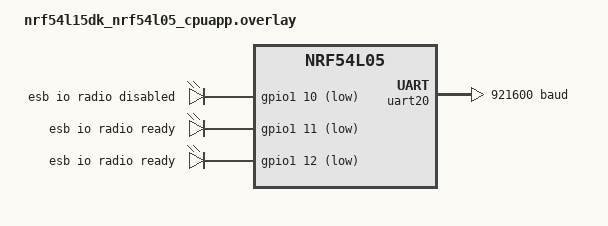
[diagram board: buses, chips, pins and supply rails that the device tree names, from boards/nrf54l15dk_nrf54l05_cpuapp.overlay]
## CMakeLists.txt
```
#
# Copyright (c) 2018 Nordic Semiconductor
#
# SPDX-License-Identifier: LicenseRef-Nordic-5-Clause
#
cmake_minimum_required(VERSION 3.20.0)

find_package(Zephyr REQUIRED HINTS $ENV{ZEPHYR_BASE})
project(esb_prx)

FILE(GLOB app_sources src/*.c)
# NORDIC SDK APP START
target_sources(app PRIVATE ${app_sources})
# NORDIC SDK APP END
```

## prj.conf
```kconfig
#
# Copyright (c) 2019 Nordic Semiconductor ASA
#
# SPDX-License-Identifier: LicenseRef-Nordic-5-Clause
#
CONFIG_NCS_SAMPLES_DEFAULTS=y
CONFIG_ESB=y
CONFIG_DK_LIBRARY=y
CONFIG_CLOCK_CONTROL=y

CONFIG_ESB_MAX_PAYLOAD_LENGTH=72
CONFIG_ESB_FAST_SWITCHING=y
CONFIG_ESB_FAST_CHANNEL_SWITCHING=y
# CONFIG_NRFX_DPPI10=y

# CONFIG_FLASH=y
# CONFIG_FLASH_MAP=y
# CONFIG_FLASH_LOAD_OFFSET=0x10000
# CONFIG_SPI=y

# 低频时钟：使用内部 RC，而不是外部 32.768 kHz 晶振
CONFIG_CLOCK_CONTROL_NRF_K32SRC_RC=y
CONFIG_CLOCK_CONTROL_NRF_K32SRC_XTAL=n
CONFIG_CLOCK_CONTROL_NRF_K32SRC_SYNTH=n
# 根据需求选择 RC 精度和校准策略（可选，但推荐）
CONFIG_CLOCK_CONTROL_NRF_K32SRC_500PPM=y
CONFIG_CLOCK_CONTROL_NRF_K32SRC_RC_CALIBRATION=y
CONFIG_CLOCK_CONTROL_NRF_CALIBRATION_LF_ALWAYS_ON=y
```

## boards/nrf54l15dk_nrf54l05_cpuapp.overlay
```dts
/*
 * Copyright (c) 2024 Nordic Semiconductor ASA
 *
 * SPDX-License-Identifier: LicenseRef-Nordic-5-Clause
 */
/delete-node/ &boot_partition;
/delete-node/ &slot0_partition;
/delete-node/ &slot1_partition;
/delete-node/ &storage_partition;
 / {	
	esb_gpio {
		compatible = "gpio-leds";
		esb_io_radio_disabled: esb-io-radio-disabled {
			gpios = <&gpio1 10 GPIO_ACTIVE_LOW>;
			label = "esb io radio disabled";
		};
		esb_io_radio_rx: esb-io-radio-rx {
			gpios = <&gpio1 11 GPIO_ACTIVE_LOW>;
			label = "esb io radio ready";
		};
		esb_io_radio_tx: esb-io-radio-tx {
			gpios = <&gpio1 12 GPIO_ACTIVE_LOW>;
			label = "esb io radio ready";
		};
	};
};
&cpuapp_rram {
	reg = <0x0 DT_SIZE_K(500)>;
	partitions {
		compatible = "fixed-partitions";
		#address-cells = <1>;
		#size-cells = <1>;
		boot_partition: partition@0 {
			label = "mcuboot";
			reg = <0x0 0x10000>;
		};
		/* 
		slot0_partition: partition@10000 {
			label = "image-0";
			reg = <0x10000 0x160000>;
		};
		*/
		slot0_partition: partition@10000 {
			label = "image-0";
			reg = <0x10000 0x68000>;
		};
		
		/* 52k from 0x170000 to 0x17cfff reserved for TF-M partitions */
		/* 
		storage_partition: partition@170000 {
			label = "storage";
			reg = <0x170000 0x2000>;
		};
		*/
		storage_partition: partition@78000 {
			label = "storage";
			reg = <0x78000 0x2000>;
		};
	};
};

&pinctrl {
	spi00_default: spi00_default {
		group1 {
			psels = <NRF_PSEL(SPIM_SCK, 2, 1)>,
				<NRF_PSEL(SPIM_MOSI, 2, 2)>,
				<NRF_PSEL(SPIM_MISO, 2, 4)>;
		};
	};

	spi00_sleep: spi00_sleep {
		group1 {
			psels = <NRF_PSEL(SPIM_SCK, 2, 1)>,
				<NRF_PSEL(SPIM_MOSI, 2, 2)>,
				<NRF_PSEL(SPIM_MISO, 2, 4)>;
				low-power-enable;
		};
	};
};

&spi00 {
	// status = "okay";
	status = "disabled";
	cs-gpios = <&gpio2 5 GPIO_ACTIVE_LOW>;
	pinctrl-0 = <&spi00_default>;
	pinctrl-1 = <&spi00_sleep>;
	pinctrl-names = "default", "sleep";

	dut_spi00_dt: test-spi-dev@0 {
		compatible = "vnd,spi-device";
		reg = <0>;
		spi-max-frequency = <DT_FREQ_M(4)>;
	};

	mx25r64: mx25r6435f@0 {
		status = "disabled";
	};
};

&led0 {
	status = "disabled";
};

&led1 {
	status = "disabled";
};

&led2 {
	status = "disabled";
};

&led3 {
	status = "disabled";
};

&button0 {
	status = "disabled";
};

&button1 {
	status = "disabled";
};

&button2 {
	status = "disabled";
};

&button3 {
	status = "disabled";
};

&pwm20 {
	status = "disabled";
};

&pwm_led1 {
	status = "disabled";
};

&uart20 {
	// status = "disabled";
	current-speed = <921600>;
};
&uart20_default {
	group1 {
		psels = <NRF_PSEL(UART_TX, 1, 4)>;
	};
};

&uart20_sleep {
	group1 {
		psels = <NRF_PSEL(UART_TX, 1, 4)>;
	};
};
/delete-node/ &{/pin-controller/uart20_default/group2/};

&lfxo {
    status = "disabled";
};

&hfxo {
	// //128M
	// clock-frequency = < 0x1e84800 >;
    // /* 选择使用内部电容阵列 */
    // load-capacitors = "internal";
    // /* 调整内部电容驱动强度值，例如 15500 fF (即15.5pF) */
    // load-capacitance-femtofarad = <15500>;
    // 使用外部电容
    // load-capacitors = "external";
};
```

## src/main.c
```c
/*
 * Copyright (c) 2018 Nordic Semiconductor ASA
 *
 * SPDX-License-Identifier: LicenseRef-Nordic-5-Clause
 */
#include <zephyr/device.h>
#include <zephyr/devicetree.h>
#include <zephyr/drivers/clock_control.h>
#include <zephyr/drivers/clock_control/nrf_clock_control.h>
#include <zephyr/drivers/gpio.h>
#include <zephyr/irq.h>
#include <zephyr/logging/log.h>
#include <nrf.h>
// #include <nrfx.h>

#include <esb.h>
#include <zephyr/kernel.h>
#include <zephyr/types.h>
#include <dk_buttons_and_leds.h>
#if defined(CONFIG_CLOCK_CONTROL_NRF2)
#include <hal/nrf_lrcconf.h>
#endif
#include <nrf_erratas.h>
#if NRF54L_ERRATA_20_PRESENT
#include <hal/nrf_power.h>
#endif /* NRF54L_ERRATA_20_PRESENT */
#if defined(NRF54LM20A_ENGA_XXAA)
#include <hal/nrf_clock.h>
#endif /* defined(NRF54LM20A_ENGA_XXAA) */

LOG_MODULE_REGISTER(esb_prx, CONFIG_ESB_PRX_APP_LOG_LEVEL);


#define ACKPALOAD 0
#define ACKPALOAD_TIMER 0
static struct esb_payload rx_payload;
static struct esb_payload tx_payload = ESB_CREATE_PAYLOAD(0,
	0x10, 0x11, 0x12, 0x13, 0x14, 0x15, 0x16, 0x17);

static void leds_update(uint8_t value)
{
	uint32_t leds_mask =
		(!(value % 8 > 0 && value % 8 <= 4) ? DK_LED1_MSK : 0) |
		(!(value % 8 > 1 && value % 8 <= 5) ? DK_LED2_MSK : 0) |
		(!(value % 8 > 2 && value % 8 <= 6) ? DK_LED3_MSK : 0) |
		(!(value % 8 > 3) ? DK_LED4_MSK : 0);

	dk_set_leds(leds_mask);
}

void event_handler(struct esb_evt const *event)
{
	switch (event->evt_id) {
	case ESB_EVENT_TX_SUCCESS:
		// LOG_DBG("TX SUCCESS EVENT");
		break;
	case ESB_EVENT_TX_FAILED:
		LOG_DBG("TX FAILED EVENT");
		break;
	case ESB_EVENT_RX_RECEIVED:
	
		if (esb_read_rx_payload(&rx_payload) == 0) {
			// LOG_DBG("Packet received, len %d : "
			// 	"0x%02x, 0x%02x, 0x%02x, 0x%02x, "
			// 	"0x%02x, 0x%02x, 0x%02x, 0x%02x",
			// 	rx_payload.length, rx_payload.data[0],
			// 	rx_payload.data[1], rx_payload.data[2],
			// 	rx_payload.data[3], rx_payload.data[4],
			// 	rx_payload.data[5], rx_payload.data[6],
			// 	rx_payload.data[7]);
#if	ACKPALOAD		
			int err = esb_write_payload(&tx_payload);
			if (err) {
				LOG_ERR("Failed to send tx_payload, err %d", err);
			}
			tx_payload.data[1]++;
#endif
		} 
		else {
			LOG_ERR("Error while reading rx packet");
		}

		break;
	}
}

#if defined(CONFIG_CLOCK_CONTROL_NRF)
int clocks_start(void)
{
	int err;
	int res;
	struct onoff_manager *clk_mgr;
	struct onoff_client clk_cli;

	clk_mgr = z_nrf_clock_control_get_onoff(CLOCK_CONTROL_NRF_SUBSYS_HF);
	if (!clk_mgr) {
		LOG_ERR("Unable to get the Clock manager");
		return -ENXIO;
	}

	sys_notify_init_spinwait(&clk_cli.notify);

	err = onoff_request(clk_mgr, &clk_cli);
	if (err < 0) {
		LOG_ERR("Clock request failed: %d", err);
		return err;
	}

	do {
		err = sys_notify_fetch_result(&clk_cli.notify, &res);
		if (!err && res) {
			LOG_ERR("Clock could not be started: %d", res);
			return res;
		}
	} while (err);

#if NRF54L_ERRATA_20_PRESENT
	if (nrf54l_errata_20()) {
		nrf_power_task_trigger(NRF_POWER, NRF_POWER_TASK_CONSTLAT);
	}
#endif /* NRF54L_ERRATA_20_PRESENT */

#if defined(NRF54LM20A_ENGA_XXAA)
	/* MLTPAN-39 */
	nrf_clock_task_trigger(NRF_CLOCK, NRF_CLOCK_TASK_PLLSTART);
#endif

	LOG_DBG("HF clock started");
	return 0;
}

#elif defined(CONFIG_CLOCK_CONTROL_NRF2)

int clocks_start(void)
{
	int err;
	int res;
	const struct device *radio_clk_dev =
		DEVICE_DT_GET_OR_NULL(DT_CLOCKS_CTLR(DT_NODELABEL(radio)));
	struct onoff_client radio_cli;

	/** Keep radio domain powered all the time to reduce latency. */
	nrf_lrcconf_poweron_force_set(NRF_LRCCONF010, NRF_LRCCONF_POWER_DOMAIN_1, true);

	sys_notify_init_spinwait(&radio_cli.notify);

	err = nrf_clock_control_request(radio_clk_dev, NULL, &radio_cli);

	do {
		err = sys_notify_fetch_result(&radio_cli.notify, &res);
		if (!err && res) {
			LOG_ERR("Clock could not be started: %d", res);
			return res;
		}
	} while (err == -EAGAIN);

	nrf_lrcconf_clock_always_run_force_set(NRF_LRCCONF000, 0, true);
	nrf_lrcconf_task_trigger(NRF_LRCCONF000, NRF_LRCCONF_TASK_CLKSTART_0);

	LOG_DBG("HF clock started");

	return 0;
}

#else
BUILD_ASSERT(false, "No Clock Control driver");
#endif /* defined(CONFIG_CLOCK_CONTROL_NRF2) */

#define DEBUG_IO_ENABLE 				    1	
#if(DEBUG_IO_ENABLE)
#define G24_RF_IO_ENABLE                    1//需要关闭，调试2.4G rf时序的

#define DEBUG_IO1_PORT 						1							
#define DEBUG_IO1_PIN						10
#define DEBUG_IO1_PORT_PIN					((DEBUG_IO1_PORT<<5)|DEBUG_IO1_PIN)

#define DEBUG_IO2_PORT 						1						
#define DEBUG_IO2_PIN						11
#define DEBUG_IO2_PORT_PIN					((DEBUG_IO2_PORT<<5)|DEBUG_IO2_PIN)

#define DEBUG_IO3_PORT 						1						
#define DEBUG_IO3_PIN						12
#define DEBUG_IO3_PORT_PIN					((DEBUG_IO3_PORT<<5)|DEBUG_IO3_PIN)

#define DEBUG_IO4_PORT 						1						
#define DEBUG_IO4_PIN						13
#define DEBUG_IO4_PORT_PIN					((DEBUG_IO4_PORT<<5)|DEBUG_IO4_PIN)

#define DEBUG_IO5_PORT 						1						
#define DEBUG_IO5_PIN						14
#define DEBUG_IO5_PORT_PIN					((DEBUG_IO5_PORT<<5)|DEBUG_IO5_PIN)
#else
#define G24_RF_IO_ENABLE                    0//DEBUG_IO_ENABLE没有使能，不能使用
#endif

#if(DEBUG_IO_ENABLE && G24_RF_IO_ENABLE)
#include <hal/nrf_dppi.h>
#include <hal/nrf_ppib.h>
#include <hal/nrf_gpio.h>
#include <hal/nrf_gpiote.h>
#define NRF_GPIOTE_TEST  NRF_GPIOTE20
void app_g24_rf_io_init(void)
{
    // // 1. 初始化 GPIOTE
	// ret = nrf_gpiote_init();
    
    // 2. 配置 GPIO 输出
    // nrf_gpio_cfg_output(RADIO_INDICATOR_PIN);
    // nrf_gpio_pin_clear(RADIO_INDICATOR_PIN);
    
    // 3. 配置 GPIOTE 输出任务
	nrf_gpiote_task_configure(NRF_GPIOTE_TEST, 0, DEBUG_IO1_PORT_PIN,
							NRF_GPIOTE_POLARITY_TOGGLE,
							NRF_GPIOTE_INITIAL_VALUE_LOW);
	nrf_gpiote_task_configure(NRF_GPIOTE_TEST, 1, DEBUG_IO2_PORT_PIN,
							NRF_GPIOTE_POLARITY_TOGGLE,
							NRF_GPIOTE_INITIAL_VALUE_LOW);
	nrf_gpiote_task_configure(NRF_GPIOTE_TEST, 2, DEBUG_IO3_PORT_PIN,
							NRF_GPIOTE_POLARITY_TOGGLE,
							NRF_GPIOTE_INITIAL_VALUE_LOW);
    
    // 4. 启用 GPIOTE 输出任务
    nrf_gpiote_task_enable(NRF_GPIOTE_TEST, 0);
	nrf_gpiote_task_enable(NRF_GPIOTE_TEST, 1);
	nrf_gpiote_task_enable(NRF_GPIOTE_TEST, 2);

	/* Publish radio event */
	nrf_radio_publish_set(NRF_RADIO, NRF_RADIO_EVENT_TXREADY, 8);
	nrf_radio_publish_set(NRF_RADIO, NRF_RADIO_EVENT_END, 9);
	nrf_radio_publish_set(NRF_RADIO, NRF_RADIO_EVENT_RXREADY, 10);

	/* Enable same DPPI in Global domain */
	nrf_dppi_channels_enable(NRF_DPPIC10, BIT(8));
	nrf_dppi_channels_enable(NRF_DPPIC10, BIT(9));
	nrf_dppi_channels_enable(NRF_DPPIC10, BIT(10));

	/* Setup PPIB send subscribe */
	nrf_ppib_subscribe_set(NRF_PPIB11,NRF_PPIB_TASK_SEND_6,8);
	nrf_ppib_subscribe_set(NRF_PPIB11,NRF_PPIB_TASK_SEND_7,9);
	nrf_ppib_subscribe_set(NRF_PPIB11,NRF_PPIB_TASK_SEND_8,10);

	 /* Setup PPIB receive publish */
    nrf_ppib_publish_set(NRF_PPIB21, NRF_PPIB_EVENT_RECEIVE_6, 10);
	nrf_ppib_publish_set(NRF_PPIB21, NRF_PPIB_EVENT_RECEIVE_7, 11);
	nrf_ppib_publish_set(NRF_PPIB21, NRF_PPIB_EVENT_RECEIVE_8, 12);

	nrf_gpiote_subscribe_set(NRF_GPIOTE_TEST, NRF_GPIOTE_TASK_OUT_0, 10);
	nrf_gpiote_subscribe_set(NRF_GPIOTE_TEST, NRF_GPIOTE_TASK_OUT_1, 11);
	nrf_gpiote_subscribe_set(NRF_GPIOTE_TEST, NRF_GPIOTE_TASK_OUT_2, 12);

	nrf_dppi_channels_enable(NRF_DPPIC20, BIT(10));
	nrf_dppi_channels_enable(NRF_DPPIC20, BIT(11));
	nrf_dppi_channels_enable(NRF_DPPIC20, BIT(12));

	printk("G24_RF_IO_ENABLE!\n");
}
#endif

void app_gpio_initial(void)  // 
{	
#if(DEBUG_IO_ENABLE)
	nrf_gpio_cfg_output(DEBUG_IO1_PORT_PIN);
	nrf_gpio_pin_write(DEBUG_IO1_PORT_PIN,0);

	nrf_gpio_cfg_output(DEBUG_IO2_PORT_PIN);
	nrf_gpio_pin_write(DEBUG_IO2_PORT_PIN,0);

	nrf_gpio_cfg_output(DEBUG_IO3_PORT_PIN);
	nrf_gpio_pin_write(DEBUG_IO3_PORT_PIN,0);

	nrf_gpio_cfg_output(DEBUG_IO4_PORT_PIN);
	nrf_gpio_pin_write(DEBUG_IO4_PORT_PIN,0);

	nrf_gpio_cfg_output(DEBUG_IO5_PORT_PIN);
	nrf_gpio_pin_write(DEBUG_IO5_PORT_PIN,0);
app_g24_rf_io_init();
#endif 
}

int esb_initialize(void)
{
	int err;
	/* These are arbitrary default addresses. In end user products
	 * different addresses should be used for each set of devices.
	 */
	uint8_t base_addr_0[4] = {0xE7, 0xE7, 0xE7, 0xE7};
	uint8_t base_addr_1[4] = {0xC2, 0xC2, 0xC2, 0xC2};
	uint8_t addr_prefix[8] = {0xE7, 0xC2, 0xC3, 0xC4, 0xC5, 0xC6, 0xC7, 0xC8};

	struct esb_config config = ESB_DEFAULT_CONFIG;

	config.protocol = ESB_PROTOCOL_ESB_DPL;
	config.bitrate = ESB_BITRATE_4MBPS;
	config.event_handler = event_handler;
	config.mode = ESB_MODE_PRX;
	config.event_handler = event_handler;
	config.selective_auto_ack = true;
	config.crc = ESB_CRC_8BIT;

	if (IS_ENABLED(CONFIG_ESB_FAST_SWITCHING)) {
		config.use_fast_ramp_up = true;
	}

	err = esb_init(&config);
	if (err) {
		return err;
	}

	err = esb_set_base_address_0(base_addr_0);
	if (err) {
		return err;
	}

	err = esb_set_base_address_1(base_addr_1);
	if (err) {
		return err;
	}

	err = esb_set_prefixes(addr_prefix, ARRAY_SIZE(addr_prefix));
	if (err) {
		return err;
	}

	return 0;
}
#if	ACKPALOAD_TIMER	

#define APP_TIMER00           NRF_TIMER00_S
#define TIME_TO_WAIT_MS       1000
#define TIME_TO_WAIT_US       125

#include <nrfx_timer.h>
#include <hal/nrf_timer.h>
__ramfunc void timer00_irq_handler(void)
{
	if (nrf_timer_int_enable_check(APP_TIMER00, NRF_TIMER_INT_COMPARE0_MASK)) 
    {
		nrf_timer_event_clear(APP_TIMER00, NRF_TIMER_EVENT_COMPARE0);
    #if(DEBUG_IO_ENABLE && (!G24_RF_IO_ENABLE))
        nrf_gpio_pin_toggle(DEBUG_IO1_PORT_PIN);
    #endif
			esb_flush_tx();	
			int err = esb_write_payload(&tx_payload);
			if (err) {
				LOG_ERR("Failed to send tx_payload, err %d", err);
			}
			tx_payload.data[1]++;
        // nrf_timer_task_trigger(APP_TIMER, NRF_TIMER_TASK_CLEAR);//shortcut自动清掉了

    }
}

void app_timer00_init(void)
{
    nrf_timer_mode_set(APP_TIMER00,NRF_TIMER_MODE_TIMER);
    nrf_timer_bit_width_set(APP_TIMER00,NRF_TIMER_BIT_WIDTH_32);

    uint32_t prescaler = nrf_timer_prescaler_get(APP_TIMER00);
    printk("timer00_prescaler=%d\n", prescaler);
    uint32_t freq_base_hz = NRF_TIMER_BASE_FREQUENCY_GET(APP_TIMER00);
    printk("time00_hz=%d\n", freq_base_hz);
    // uint32_t freq_base_khz = freq_base_hz/1000000;//US
    // uint32_t ticks = (((uint32_t)TIME_TO_WAIT_US * freq_base_khz) >> prescaler);
    uint32_t freq_base_khz = freq_base_hz/1000;//MS
    uint32_t ticks = (((uint32_t)TIME_TO_WAIT_MS * freq_base_khz) >> prescaler);
    printk("time00_ticks=%d\n", ticks);

    nrf_timer_int_enable(APP_TIMER00,TIMER_INTENSET_COMPARE0_Msk);
    nrf_timer_task_trigger(APP_TIMER00, NRF_TIMER_TASK_CLEAR);
	nrf_timer_shorts_set(APP_TIMER00, NRF_TIMER_SHORT_COMPARE0_CLEAR_MASK);
    nrf_timer_cc_set(APP_TIMER00,NRF_TIMER_CC_CHANNEL0,ticks);

	printk("IRQ_PRIO_LOWEST=%ld\n",IRQ_PRIO_LOWEST);
	IRQ_DIRECT_CONNECT(TIMER00_IRQn, 1, timer00_irq_handler, 0);
	// IRQ_CONNECT(TIMER00_IRQn, 1, nrfx_isr, timer00_irq_handler, 0);
	irq_enable(TIMER00_IRQn);

    
    nrf_timer_task_trigger(APP_TIMER00, NRF_TIMER_TASK_START);
    // nrf_timer_task_trigger(APP_TIMER, NRF_TIMER_TASK_CAPTURE0);
}
#endif

int main(void)
{
	int err;

	LOG_INF("Enhanced ShockBurst prx sample");

	err = clocks_start();
	if (err) {
		return 0;
	}

	err = dk_leds_init();
	if (err) {
		LOG_ERR("LEDs initialization failed, err %d", err);
		return 0;
	}

	err = esb_initialize();
	if (err) {
		LOG_ERR("ESB initialization failed, err %d", err);
		return 0;
	}

	LOG_INF("Initialization complete");

	err = esb_write_payload(&tx_payload);
	if (err) {
		LOG_ERR("Write payload, err %d", err);
		return 0;
	}

	LOG_INF("Setting up for packet receiption");

	err = esb_start_rx();
	if (err) {
		LOG_ERR("RX setup failed, err %d", err);
		return 0;
	}
#if DEBUG_IO_ENABLE	
	app_gpio_initial();
#endif
#if	ACKPALOAD_TIMER	
	app_timer00_init();
#endif
	/* return to idle thread */
	// while(1)
	// {
		
	// }
	return 0;
}
```
